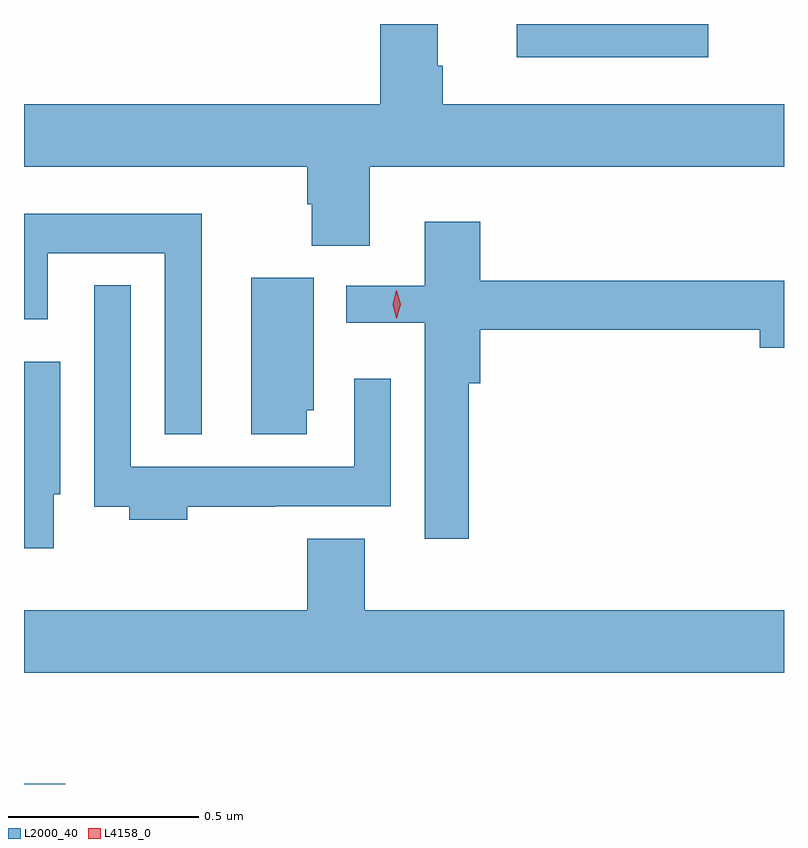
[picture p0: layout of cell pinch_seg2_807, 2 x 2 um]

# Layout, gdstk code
import gdstk
lib = gdstk.Library(unit=1e-6, precision=1e-09)
def R(c, l, rs):  # rectangles x0, y0, x1, y1
    for r in rs: c.add(gdstk.rectangle(r[:2], r[2:], *l))
def P(c, l, *ps):  # polygons
    for p in ps: c.add(gdstk.Polygon(p, *l))
L2000_40 = (2000, 40)
L4158_0 = (4158, 0)

pinch_seg2_807 = lib.new_cell('pinch_seg2_807')
R(pinch_seg2_807, L2000_40, [(644.704,661.995,644.813,661.996), (646.001,663.908,646.504,663.995)])
P(pinch_seg2_807, L2000_40, [(645.614,663.62),(646.704,663.62),(646.704,663.784),(645.806,663.784),(645.806,663.885),(645.793,663.885),(645.793,663.995),(645.641,663.995),(645.641,663.784),(644.704,663.784),(644.704,663.62),(645.449,663.62),(645.449,663.521),(645.461,663.521),(645.461,663.412),(645.614,663.412)],
  [(645.172,663.496),(644.704,663.496),(644.704,663.218),(644.766,663.218),(644.766,663.392),(645.075,663.392),(645.075,662.915),(645.172,662.915)],
  [(645.875,663.05),(645.905,663.05),(645.905,663.19),(646.64,663.19),(646.64,663.143),(646.704,663.143),(646.704,663.319),(645.905,663.319),(645.905,663.475),(645.758,663.475),(645.758,663.306),(645.552,663.306),(645.552,663.209),(645.759,663.209),(645.759,662.64),(645.875,662.64)],
  [(645.448,662.979),(645.466,662.979),(645.466,663.327),(645.302,663.327),(645.302,662.916),(645.448,662.916)],
  [(645.134,662.724),(645.365,662.724),(645.365,662.726),(645.669,662.726),(645.669,663.061),(645.573,663.061),(645.573,662.83),(644.985,662.83),(644.985,663.307),(644.889,663.307),(644.889,662.724),(644.981,662.724),(644.981,662.69),(645.134,662.69)],
  [(644.782,662.757),(644.8,662.757),(644.8,663.106),(644.704,663.106),(644.704,662.616),(644.782,662.616)],
  [(646.704,662.452),(645.601,662.452),(645.601,662.641),(645.449,662.641),(645.449,662.452),(644.704,662.452),(644.704,662.288),(646.704,662.288)])
P(pinch_seg2_807, L4158_0, [(645.684,663.221),(645.675,663.257),(645.684,663.293),(645.685,663.293),(645.685,663.293),(645.695,663.257),(645.685,663.221),(645.685,663.221)])

lib.write_gds('pinch_seg2_807.gds')
